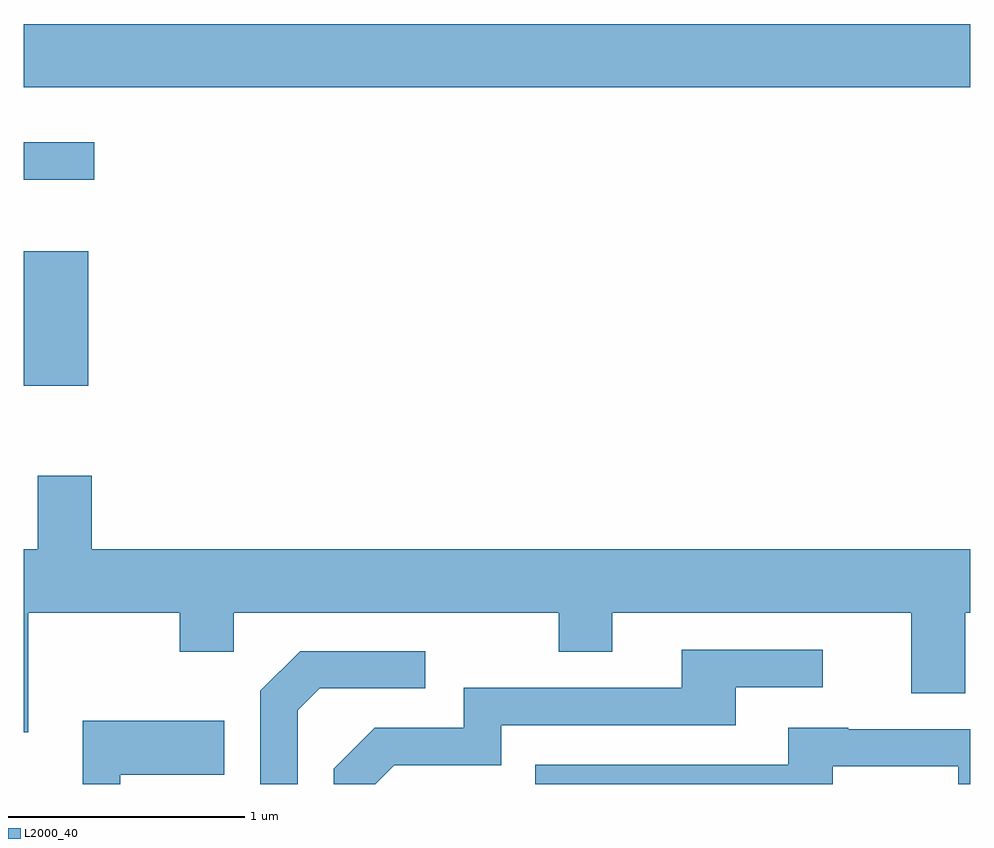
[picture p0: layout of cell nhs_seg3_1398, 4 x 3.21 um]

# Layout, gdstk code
import gdstk
lib = gdstk.Library(unit=1e-6, precision=1e-09)
def R(c, l, rs):  # rectangles x0, y0, x1, y1
    for r in rs: c.add(gdstk.rectangle(r[:2], r[2:], *l))
def P(c, l, *ps):  # polygons
    for p in ps: c.add(gdstk.Polygon(p, *l))
L2000_40 = (2000, 40)

nhs_seg3_1398 = lib.new_cell('nhs_seg3_1398')
R(nhs_seg3_1398, L2000_40, [(225.611,1193.576,225.884,1194.144), (225.611,1194.446,225.908,1194.604), (225.611,1194.836,229.611,1195.104)])
P(nhs_seg3_1398, L2000_40, [(225.629,1192.616),(226.271,1192.616),(226.271,1192.451),(226.499,1192.451),(226.499,1192.616),(227.871,1192.616),(227.871,1192.451),(228.099,1192.451),(228.099,1192.616),(229.361,1192.616),(229.361,1192.276),(229.589,1192.276),(229.589,1192.616),(229.611,1192.616),(229.611,1192.884),(225.899,1192.884),(225.899,1193.194),(225.671,1193.194),(225.671,1192.884),(225.611,1192.884),(225.611,1192.111),(225.629,1192.111)],
  [(227.177,1191.971),(227.629,1191.971),(227.629,1192.141),(228.619,1192.141),(228.619,1192.301),(228.988,1192.301),(228.988,1192.459),(228.391,1192.459),(228.391,1192.299),(227.471,1192.299),(227.471,1192.129),(227.094,1192.129),(226.921,1191.957),(226.921,1191.892),(227.097,1191.892)],
  [(226.769,1192.204),(226.862,1192.296),(227.308,1192.296),(227.308,1192.454),(226.779,1192.454),(226.611,1192.287),(226.611,1191.892),(226.769,1191.892)],
  [(226.019,1191.931),(226.459,1191.931),(226.459,1192.159),(225.861,1192.159),(225.861,1191.892),(226.019,1191.892)],
  [(229.029,1191.966),(229.561,1191.966),(229.561,1191.892),(229.611,1191.892),(229.611,1192.124),(229.095,1192.124),(229.095,1192.129),(228.841,1192.129),(228.841,1191.974),(227.773,1191.974),(227.773,1191.892),(229.029,1191.892)])

lib.write_gds('nhs_seg3_1398.gds')
